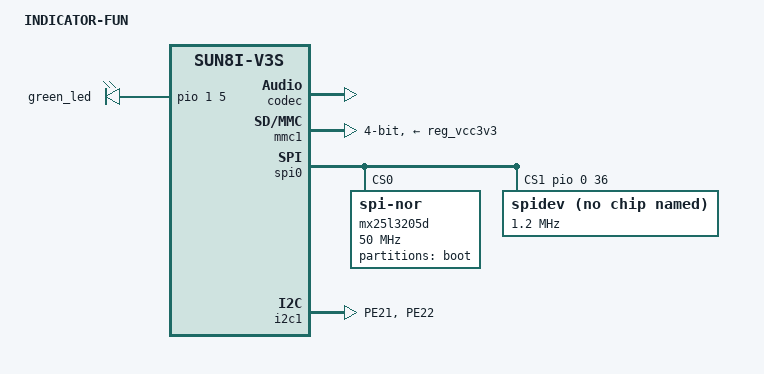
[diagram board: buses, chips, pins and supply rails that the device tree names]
/*
 * Copyright (C) 2016 Icenowy Zheng <icenowy@aosc.xyz>
 *
 * This file is dual-licensed: you can use it either under the terms
 * of the GPL or the X11 license, at your option. Note that this dual
 * licensing only applies to this file, and not this project as a
 * whole.
 *
 *  a) This file is free software; you can redistribute it and/or
 *     modify it under the terms of the GNU General Public License as
 *     published by the Free Software Foundation; either version 2 of the
 *     License, or (at your option) any later version.
 *
 *     This file is distributed in the hope that it will be useful,
 *     but WITHOUT ANY WARRANTY; without even the implied warranty of
 *     MERCHANTABILITY or FITNESS FOR A PARTICULAR PURPOSE.  See the
 *     GNU General Public License for more details.
 *
 * Or, alternatively,
 *
 *  b) Permission is hereby granted, free of charge, to any person
 *     obtaining a copy of this software and associated documentation
 *     files (the "Software"), to deal in the Software without
 *     restriction, including without limitation the rights to use,
 *     copy, modify, merge, publish, distribute, sublicense, and/or
 *     sell copies of the Software, and to permit persons to whom the
 *     Software is furnished to do so, subject to the following
 *     conditions:
 *
 *     The above copyright notice and this permission notice shall be
 *     included in all copies or substantial portions of the Software.
 *
 *     THE SOFTWARE IS PROVIDED "AS IS", WITHOUT WARRANTY OF ANY KIND,
 *     EXPRESS OR IMPLIED, INCLUDING BUT NOT LIMITED TO THE WARRANTIES
 *     OF MERCHANTABILITY, FITNESS FOR A PARTICULAR PURPOSE AND
 *     NONINFRINGEMENT. IN NO EVENT SHALL THE AUTHORS OR COPYRIGHT
 *     HOLDERS BE LIABLE FOR ANY CLAIM, DAMAGES OR OTHER LIABILITY,
 *     WHETHER IN AN ACTION OF CONTRACT, TORT OR OTHERWISE, ARISING
 *     FROM, OUT OF OR IN CONNECTION WITH THE SOFTWARE OR THE USE OR
 *     OTHER DEALINGS IN THE SOFTWARE.
 */

#include <dt-bindings/input/input.h>

#include "sun8i-v3s-licheepi-zero.dts"

/ {
    model = "INDICATOR-FUN";
    compatible = "licheepi,licheepi-zero-dock", "licheepi,licheepi-zero",
             "allwinner,sun8i-v3s";

    aliases {
        serial0 = &uart0;
        spi0 = &spi0;
    };

    leds {
        compatible = "gpio-leds";

        mmc_led {
            label = "green_led";
            gpios = <&pio 1 5 GPIO_ACTIVE_HIGH>; /* PB5 */
            linux,default-trigger = "mmc0";
        };
    };
};


&codec {
    allwinner,audio-routing =
        "Headphone", "HP",
        "Headphone", "HPCOM",
        "MIC1", "Mic",
        "Mic",  "HBIAS";
    status = "okay";
};

&mmc1 {
    pinctrl-0 = <&mmc1_pins>;
    pinctrl-names = "default";
    broken-cd;
    bus-width = <4>;
    vmmc-supply = <&reg_vcc3v3>;
    status = "okay";
};

&pio {
    spi0_cs1: spi0_cs1 {
        pins = "PB4";
        function = "gpio_out";
        output-high;
    };

    i2c1_pins: i2c1-pins {
        pins = "PE21", "PE22";
        function = "i2c1";
    };
};

&spi0 {
    pinctrl-1 = <&spi0_cs1>;
    pinctrl-names = "default", "default";
    cs-gpios = <0>, <&pio 0 36 0>; /* PB4 */
    status = "okay";
    mx25l3205d:mx25l3205d@0 {
        compatible = "jedec,spi-nor";
        reg = <0x0>;
        spi-max-frequency = <50000000>;
        #address-cells = <1>;
        #size-cells = <1>;
        partition@0 {
            label = "boot";
            reg = <0x0 0x200000>;
        };
    };
    spidev@1 {
        compatible = "spidev";
        spi-max-frequency = <1200000>;
        reg = <1>;
    };
};

&i2c1 {
    status = "okay";
    pinctrl-names = "default";
    pinctrl-0 = <&i2c1_pins>;
};
